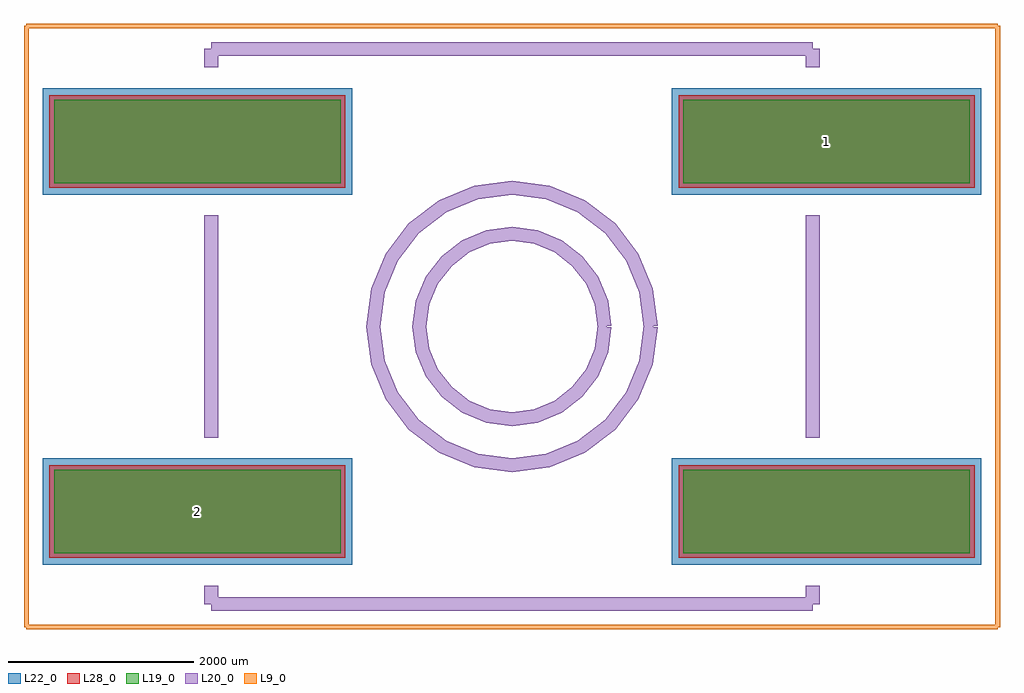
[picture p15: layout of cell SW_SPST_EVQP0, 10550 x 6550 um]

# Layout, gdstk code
import gdstk
lib = gdstk.Library(unit=1e-6, precision=1e-09)
def R(c, l, rs):  # rectangles x0, y0, x1, y1
    for r in rs: c.add(gdstk.rectangle(r[:2], r[2:], *l))
L9_0 = (9, 0)
L19_0 = (19, 0)
L20_0 = (20, 0)
L22_0 = (22, 0)
L28_0 = (28, 0)

sw_spst_evqp0 = lib.new_cell('SW_SPST_EVQP0')
R(sw_spst_evqp0, L19_0, [(-4950,-2450,-1850,-1550), (1850,-2450,4950,-1550), (-4950,1550,-1850,2450), (1850,1550,4950,2450)])
R(sw_spst_evqp0, L22_0, [(-5075,-2575,-1725,-1425), (1725,-2575,5075,-1425), (-5075,1425,-1725,2575), (1725,1425,5075,2575)])
R(sw_spst_evqp0, L28_0, [(-5000,-2500,-1800,-1500), (1800,-2500,5000,-1500), (-5000,1500,-1800,2500), (1800,1500,5000,2500)])
sw_spst_evqp0.add(gdstk.FlexPath([(1500,0),(1448.889,388.229),(1299.038,750),(1060.66,1060.66),(750,1299.038),(388.229,1448.889),(0,1500),(-388.229,1448.889),(-750,1299.038),(-1060.66,1060.66),(-1299.038,750),(-1448.889,388.229),(-1500,0),(-1448.889,-388.229),(-1299.038,-750),(-1060.66,-1060.66),(-750,-1299.038),(-388.229,-1448.889),(0,-1500),(388.229,-1448.889),(750,-1299.038),(1060.66,-1060.66),(1299.038,-750),(1448.889,-388.229),(1500,0)], 149.998, ends="flush", simple_path=True, layer=20, datatype=0))  # L20_0
sw_spst_evqp0.add(gdstk.FlexPath([(1000,0),(965.926,258.819),(866.025,500),(707.107,707.107),(500,866.025),(258.819,965.926),(0,1000),(-258.819,965.926),(-500,866.025),(-707.107,707.107),(-866.025,500),(-965.926,258.819),(-1000,0),(-965.926,-258.819),(-866.025,-500),(-707.107,-707.107),(-500,-866.025),(-258.819,-965.926),(0,-1000),(258.819,-965.926),(500,-866.025),(707.107,-707.107),(866.025,-500),(965.926,-258.819),(1000,0)], 149.998, ends="flush", simple_path=True, layer=20, datatype=0))  # L20_0
sw_spst_evqp0.add(gdstk.FlexPath([(-3250,-3000),(3250,-3000)], 149.998, ends="flush", simple_path=True, layer=20, datatype=0))  # L20_0
sw_spst_evqp0.add(gdstk.FlexPath([(3250,3000),(-3250,3000)], 149.998, ends="flush", simple_path=True, layer=20, datatype=0))  # L20_0
sw_spst_evqp0.add(gdstk.FlexPath([(3250,1200),(3250,-1200)], 149.998, ends="flush", simple_path=True, layer=20, datatype=0))  # L20_0
sw_spst_evqp0.add(gdstk.FlexPath([(-3250,1200),(-3250,-1200)], 149.998, ends="flush", simple_path=True, layer=20, datatype=0))  # L20_0
sw_spst_evqp0.add(gdstk.FlexPath([(-3250,3000),(-3250,2800)], 149.998, ends="flush", simple_path=True, layer=20, datatype=0))  # L20_0
sw_spst_evqp0.add(gdstk.FlexPath([(-3250,-3000),(-3250,-2800)], 149.998, ends="flush", simple_path=True, layer=20, datatype=0))  # L20_0
sw_spst_evqp0.add(gdstk.FlexPath([(3250,-3000),(3250,-2800)], 149.998, ends="flush", simple_path=True, layer=20, datatype=0))  # L20_0
sw_spst_evqp0.add(gdstk.FlexPath([(3250,3000),(3250,2800)], 149.998, ends="flush", simple_path=True, layer=20, datatype=0))  # L20_0
sw_spst_evqp0.add(gdstk.FlexPath([(-5250,-3250),(-5250,3250)], 50, ends="flush", simple_path=True, layer=9, datatype=0))  # L9_0
sw_spst_evqp0.add(gdstk.FlexPath([(5250,-3250),(-5250,-3250)], 50, ends="flush", simple_path=True, layer=9, datatype=0))  # L9_0
sw_spst_evqp0.add(gdstk.FlexPath([(5250,3250),(5250,-3250)], 50, ends="flush", simple_path=True, layer=9, datatype=0))  # L9_0
sw_spst_evqp0.add(gdstk.FlexPath([(-5250,3250),(5250,3250)], 50, ends="flush", simple_path=True, layer=9, datatype=0))  # L9_0
sw_spst_evqp0.add(gdstk.Label('2', (-3400,-2000), layer=28, texttype=0))
sw_spst_evqp0.add(gdstk.Label('1', (3400,2000), layer=28, texttype=0))
sw_spst_evqp0.add(gdstk.Label('type', (0,-4250), layer=9, texttype=0))
sw_spst_evqp0.add(gdstk.Label('devicename', (-1000,4000), layer=9, texttype=0))

lib.write_gds('SW_SPST_EVQP0.gds')
